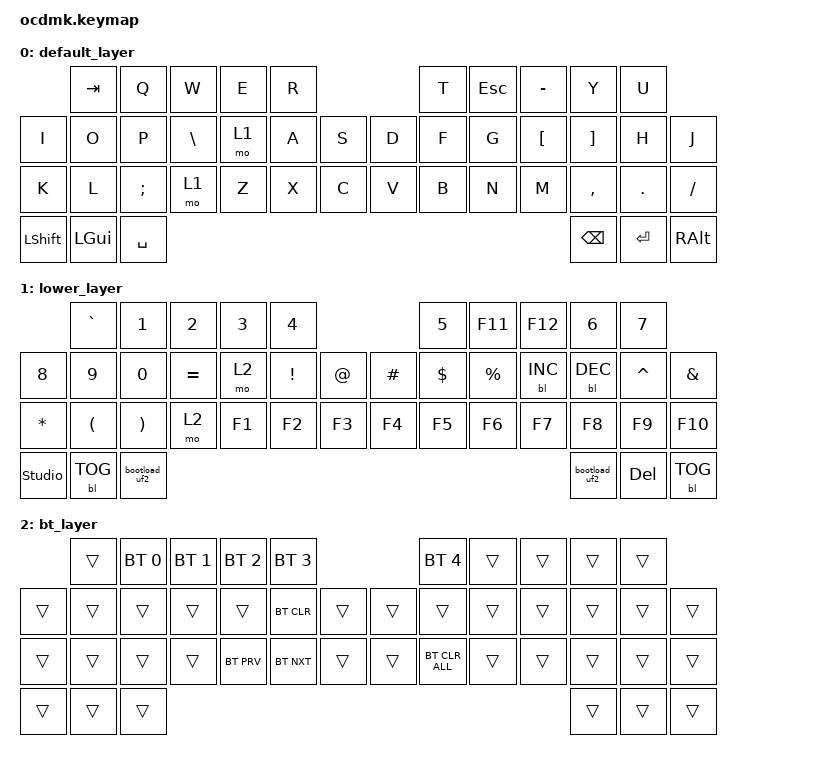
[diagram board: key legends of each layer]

/*
 * OCDMK Default Keymap
 * 7×4 split keyboard (14 columns total)
 */

#include <behaviors.dtsi>
#include <dt-bindings/zmk/keys.h>
#include <dt-bindings/zmk/bt.h>
#include <dt-bindings/zmk/backlight.h>
/ {
    behaviors {
        bootload_uf2: bootload_uf2 {
            compatible = "zmk,behavior-bootloader";
            #binding-cells = <0>;
        };
    };

    keymap {
        compatible = "zmk,keymap";

        default_layer {
            /* Standard QWERTY
             * Row 0: TAB    Q  W  E  R  T  ESC    |  MINUS  Y  U  I  O  P  BSLH
             * Row 1: MO1    A  S  D  F  G  LBKT   |  RBKT   H  J  K  L  ;  MO1
             * Row 2:           Z  X  C  V  B      |         N  M  ,  .  /
             * Row 3: LSHFT  LGUI  SPC             |              BSPC  ENT  RALT
             */
            bindings = <
                &kp TAB    &kp Q  &kp W  &kp E  &kp R  &kp T  &kp ESC          &kp MINUS  &kp Y  &kp U      &kp I      &kp O    &kp P     &kp BSLH
                &mo 1      &kp A  &kp S  &kp D  &kp F  &kp G  &kp LBKT         &kp RBKT   &kp H  &kp J      &kp K      &kp L    &kp SEMI  &mo 1
                           &kp Z  &kp X  &kp C  &kp V  &kp B                               &kp N  &kp M      &kp COMMA  &kp DOT  &kp FSLH
                &kp LSHFT  &kp LGUI  &kp SPACE                                                     &kp BSPC   &kp ENTER  &kp RALT
            >;
        };

        lower_layer {
            /* Numbers, symbols, and function keys
             * Row 0: GRAVE  1  2  3  4  5  F11    |  F12    6  7  8  9  0  EQUAL
             * Row 1: MO2    !  @  #  $  %  BL+    |  BL-    ^  &  *  (  )  MO2
             * Row 2:           F1 F2 F3 F4 F5     |        F6 F7 F8 F9 F10
             * Row 3: STUDIO LCTRL  BOOTLD         |              BOOTLD  DEL  SQT
             * (hold both MO1 keys to reach the Bluetooth layer)
             */
            bindings = <
                &kp GRAVE  &kp N1    &kp N2  &kp N3  &kp N4    &kp N5     &kp F11        &kp F12        &kp N6     &kp N7    &kp N8    &kp N9    &kp N0    &kp EQUAL
                &mo 2      &kp EXCL  &kp AT  &kp HASH &kp DLLR &kp PRCNT  &bl BL_INC     &bl BL_DEC     &kp CARET  &kp AMPS  &kp STAR  &kp LPAR  &kp RPAR  &mo 2
                           &kp F1    &kp F2  &kp F3  &kp F4    &kp F5                                   &kp F6     &kp F7    &kp F8    &kp F9    &kp F10
                &studio_unlock  &bl BL_TOG  &bootload_uf2                                                           &bootload_uf2  &kp DEL  &bl BL_TOG
            >;
        };

        bt_layer {
            /* Bluetooth profiles (hold both MO1 keys)
             * Row 0: --  BT0  BT1  BT2  BT3  BT4  --  |  --  --  --  --  --  --  --
             * Row 1: --  CLR  --   --   --   --   --  |  --  --  --  --  --  --  --
             * Row 2:     PRV  NXT  --   --   CLR_ALL  |      --  --  --  --  --
             * Row 3: --  --   --                      |              --  --  --
             * CLR clears the bond of the selected profile; CLR_ALL clears every host profile.
             */
            bindings = <
                &trans  &bt BT_SEL 0  &bt BT_SEL 1  &bt BT_SEL 2  &bt BT_SEL 3  &bt BT_SEL 4  &trans     &trans  &trans  &trans  &trans  &trans  &trans  &trans
                &trans  &bt BT_CLR    &trans        &trans        &trans        &trans        &trans     &trans  &trans  &trans  &trans  &trans  &trans  &trans
                        &bt BT_PRV    &bt BT_NXT    &trans        &trans        &bt BT_CLR_ALL                   &trans  &trans  &trans  &trans  &trans
                &trans  &trans  &trans                                                                                   &trans  &trans  &trans
            >;
        };
    };
};
